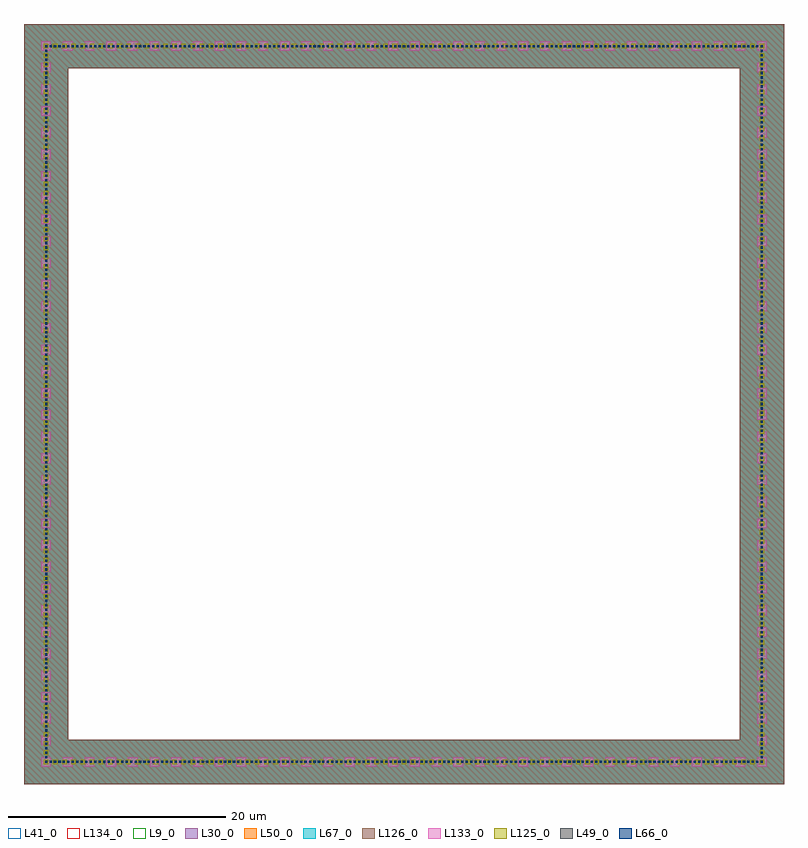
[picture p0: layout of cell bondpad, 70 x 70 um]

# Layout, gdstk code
import gdstk
lib = gdstk.Library(unit=1e-6, precision=1e-09)
def R(c, l, rs):  # rectangles x0, y0, x1, y1
    for r in rs: c.add(gdstk.rectangle(r[:2], r[2:], *l))
def A(c, l, x, y, w, h, nx, ny, dx, dy):  # array of equal rectangles
    R(c, l, [(x+i*dx, y+j*dy, x+i*dx+w, y+j*dy+h) for i in range(nx) for j in range(ny)])
def P(c, l, *ps):  # polygons
    for p in ps: c.add(gdstk.Polygon(p, *l))
L9_0 = (9, 0)
L30_0 = (30, 0)
L41_0 = (41, 0)
L49_0 = (49, 0)
L50_0 = (50, 0)
L66_0 = (66, 0)
L67_0 = (67, 0)
L125_0 = (125, 0)
L126_0 = (126, 0)
L133_0 = (133, 0)
L134_0 = (134, 0)

bondpad = lib.new_cell('bondpad')
R(bondpad, L9_0, [(-32.9,-32.9,32.9,32.9)])
P(bondpad, L30_0, [(-35,-35),(-35,35),(35,35),(35,-35),(-35,-35),(-30.93,-30.93),(30.93,-30.93),(30.93,30.93),(-30.93,30.93),(-30.93,-30.93)])
R(bondpad, L41_0, [(-35,-35,35,35)])
A(bondpad, L49_0, -33.06, -33.06, 0.19, 0.19, 3, 2, 0.41, 65.93)
A(bondpad, L49_0, -31, -33.06, 0.19, 0.19, 3, 2, 0.41, 65.93)
A(bondpad, L49_0, -28.94, -33.06, 0.19, 0.19, 3, 2, 0.41, 65.93)
A(bondpad, L49_0, -26.055, -33.06, 0.19, 0.19, 3, 2, 0.41, 65.93)
A(bondpad, L49_0, -23.995, -33.06, 0.19, 0.19, 3, 2, 0.41, 65.93)
A(bondpad, L49_0, -21.935, -33.06, 0.19, 0.19, 3, 2, 0.41, 65.93)
A(bondpad, L49_0, -19.05, -33.06, 0.19, 0.19, 3, 2, 0.41, 65.93)
A(bondpad, L49_0, -16.99, -33.06, 0.19, 0.19, 3, 2, 0.41, 65.93)
A(bondpad, L49_0, -14.93, -33.06, 0.19, 0.19, 3, 2, 0.41, 65.93)
A(bondpad, L49_0, -12.045, -33.06, 0.19, 0.19, 3, 2, 0.41, 65.93)
A(bondpad, L49_0, -9.985, -33.06, 0.19, 0.19, 3, 2, 0.41, 65.93)
A(bondpad, L49_0, -7.925, -33.06, 0.19, 0.19, 3, 2, 0.41, 65.93)
A(bondpad, L49_0, -5.04, -33.06, 0.19, 0.19, 3, 2, 0.41, 65.93)
A(bondpad, L49_0, -2.98, -33.06, 0.19, 0.19, 3, 2, 0.41, 65.93)
A(bondpad, L49_0, -0.095, -33.06, 0.19, 0.19, 3, 2, 0.41, 65.93)
A(bondpad, L49_0, 1.965, -33.06, 0.19, 0.19, 3, 2, 0.41, 65.93)
A(bondpad, L49_0, 4.025, -33.06, 0.19, 0.19, 3, 2, 0.41, 65.93)
A(bondpad, L49_0, 6.91, -33.06, 0.19, 0.19, 3, 2, 0.41, 65.93)
A(bondpad, L49_0, 8.97, -33.06, 0.19, 0.19, 3, 2, 0.41, 65.93)
A(bondpad, L49_0, 11.03, -33.06, 0.19, 0.19, 3, 2, 0.41, 65.93)
A(bondpad, L49_0, 13.915, -33.06, 0.19, 0.19, 3, 2, 0.41, 65.93)
A(bondpad, L49_0, 15.975, -33.06, 0.19, 0.19, 3, 2, 0.41, 65.93)
A(bondpad, L49_0, 18.035, -33.06, 0.19, 0.19, 3, 2, 0.41, 65.93)
A(bondpad, L49_0, 20.92, -33.06, 0.19, 0.19, 3, 2, 0.41, 65.93)
A(bondpad, L49_0, 22.98, -33.06, 0.19, 0.19, 3, 2, 0.41, 65.93)
A(bondpad, L49_0, 25.04, -33.06, 0.19, 0.19, 3, 2, 0.41, 65.93)
A(bondpad, L49_0, 27.925, -33.06, 0.19, 0.19, 3, 2, 0.41, 65.93)
A(bondpad, L49_0, 29.985, -33.06, 0.19, 0.19, 3, 2, 0.41, 65.93)
A(bondpad, L49_0, -33.06, -32.64, 0.19, 0.19, 1, 3, 0, 0.41)
A(bondpad, L49_0, 32.87, -32.64, 0.19, 0.19, 1, 3, 0, 0.41)
A(bondpad, L49_0, -33.06, -31.405, 0.19, 0.19, 1, 3, 0, 0.41)
A(bondpad, L49_0, 32.87, -31.405, 0.19, 0.19, 1, 3, 0, 0.41)
A(bondpad, L49_0, -33.06, -29.345, 0.19, 0.19, 1, 3, 0, 0.41)
A(bondpad, L49_0, 32.87, -29.345, 0.19, 0.19, 1, 3, 0, 0.41)
A(bondpad, L49_0, -33.06, -27.285, 0.19, 0.19, 1, 3, 0, 0.41)
A(bondpad, L49_0, 32.87, -27.285, 0.19, 0.19, 1, 3, 0, 0.41)
A(bondpad, L49_0, -33.06, -25.225, 0.19, 0.19, 1, 3, 0, 0.41)
A(bondpad, L49_0, 32.87, -25.225, 0.19, 0.19, 1, 3, 0, 0.41)
A(bondpad, L49_0, -33.06, -23.165, 0.19, 0.19, 1, 3, 0, 0.41)
A(bondpad, L49_0, 32.87, -23.165, 0.19, 0.19, 1, 3, 0, 0.41)
A(bondpad, L49_0, -33.06, -21.93, 0.19, 0.19, 1, 3, 0, 0.41)
A(bondpad, L49_0, 32.87, -21.93, 0.19, 0.19, 1, 3, 0, 0.41)
A(bondpad, L49_0, -33.06, -19.87, 0.19, 0.19, 1, 3, 0, 0.41)
A(bondpad, L49_0, 32.87, -19.87, 0.19, 0.19, 1, 3, 0, 0.41)
A(bondpad, L49_0, -33.06, -17.81, 0.19, 0.19, 1, 3, 0, 0.41)
A(bondpad, L49_0, 32.87, -17.81, 0.19, 0.19, 1, 3, 0, 0.41)
A(bondpad, L49_0, -33.06, -15.75, 0.19, 0.19, 1, 3, 0, 0.41)
A(bondpad, L49_0, 32.87, -15.75, 0.19, 0.19, 1, 3, 0, 0.41)
A(bondpad, L49_0, -33.06, -13.69, 0.19, 0.19, 1, 3, 0, 0.41)
A(bondpad, L49_0, 32.87, -13.69, 0.19, 0.19, 1, 3, 0, 0.41)
A(bondpad, L49_0, -33.06, -11.63, 0.19, 0.19, 1, 3, 0, 0.41)
A(bondpad, L49_0, 32.87, -11.63, 0.19, 0.19, 1, 3, 0, 0.41)
A(bondpad, L49_0, -33.06, -10.395, 0.19, 0.19, 1, 3, 0, 0.41)
A(bondpad, L49_0, 32.87, -10.395, 0.19, 0.19, 1, 3, 0, 0.41)
A(bondpad, L49_0, -33.06, -8.335, 0.19, 0.19, 1, 3, 0, 0.41)
A(bondpad, L49_0, 32.87, -8.335, 0.19, 0.19, 1, 3, 0, 0.41)
A(bondpad, L49_0, -33.06, -6.275, 0.19, 0.19, 1, 3, 0, 0.41)
A(bondpad, L49_0, 32.87, -6.275, 0.19, 0.19, 1, 3, 0, 0.41)
A(bondpad, L49_0, -33.06, -4.215, 0.19, 0.19, 1, 3, 0, 0.41)
A(bondpad, L49_0, 32.87, -4.215, 0.19, 0.19, 1, 3, 0, 0.41)
A(bondpad, L49_0, -33.06, -2.155, 0.19, 0.19, 1, 3, 0, 0.41)
A(bondpad, L49_0, 32.87, -2.155, 0.19, 0.19, 1, 3, 0, 0.41)
A(bondpad, L49_0, -33.06, -0.095, 0.19, 0.19, 1, 3, 0, 0.41)
A(bondpad, L49_0, 32.87, -0.095, 0.19, 0.19, 1, 3, 0, 0.41)
A(bondpad, L49_0, -33.06, 1.14, 0.19, 0.19, 1, 3, 0, 0.41)
A(bondpad, L49_0, 32.87, 1.14, 0.19, 0.19, 1, 3, 0, 0.41)
A(bondpad, L49_0, -33.06, 3.2, 0.19, 0.19, 1, 3, 0, 0.41)
A(bondpad, L49_0, 32.87, 3.2, 0.19, 0.19, 1, 3, 0, 0.41)
A(bondpad, L49_0, -33.06, 5.26, 0.19, 0.19, 1, 3, 0, 0.41)
A(bondpad, L49_0, 32.87, 5.26, 0.19, 0.19, 1, 3, 0, 0.41)
A(bondpad, L49_0, -33.06, 7.32, 0.19, 0.19, 1, 3, 0, 0.41)
A(bondpad, L49_0, 32.87, 7.32, 0.19, 0.19, 1, 3, 0, 0.41)
A(bondpad, L49_0, -33.06, 9.38, 0.19, 0.19, 1, 3, 0, 0.41)
A(bondpad, L49_0, 32.87, 9.38, 0.19, 0.19, 1, 3, 0, 0.41)
A(bondpad, L49_0, -33.06, 10.615, 0.19, 0.19, 1, 3, 0, 0.41)
A(bondpad, L49_0, 32.87, 10.615, 0.19, 0.19, 1, 3, 0, 0.41)
A(bondpad, L49_0, -33.06, 12.675, 0.19, 0.19, 1, 3, 0, 0.41)
A(bondpad, L49_0, 32.87, 12.675, 0.19, 0.19, 1, 3, 0, 0.41)
A(bondpad, L49_0, -33.06, 14.735, 0.19, 0.19, 1, 3, 0, 0.41)
A(bondpad, L49_0, 32.87, 14.735, 0.19, 0.19, 1, 3, 0, 0.41)
A(bondpad, L49_0, -33.06, 16.795, 0.19, 0.19, 1, 3, 0, 0.41)
A(bondpad, L49_0, 32.87, 16.795, 0.19, 0.19, 1, 3, 0, 0.41)
A(bondpad, L49_0, -33.06, 18.855, 0.19, 0.19, 1, 3, 0, 0.41)
A(bondpad, L49_0, 32.87, 18.855, 0.19, 0.19, 1, 3, 0, 0.41)
A(bondpad, L49_0, -33.06, 20.915, 0.19, 0.19, 1, 3, 0, 0.41)
A(bondpad, L49_0, 32.87, 20.915, 0.19, 0.19, 1, 3, 0, 0.41)
A(bondpad, L49_0, -33.06, 22.15, 0.19, 0.19, 1, 3, 0, 0.41)
A(bondpad, L49_0, 32.87, 22.15, 0.19, 0.19, 1, 3, 0, 0.41)
A(bondpad, L49_0, -33.06, 24.21, 0.19, 0.19, 1, 3, 0, 0.41)
A(bondpad, L49_0, 32.87, 24.21, 0.19, 0.19, 1, 3, 0, 0.41)
A(bondpad, L49_0, -33.06, 26.27, 0.19, 0.19, 1, 3, 0, 0.41)
A(bondpad, L49_0, 32.87, 26.27, 0.19, 0.19, 1, 3, 0, 0.41)
A(bondpad, L49_0, -33.06, 28.33, 0.19, 0.19, 1, 3, 0, 0.41)
A(bondpad, L49_0, 32.87, 28.33, 0.19, 0.19, 1, 3, 0, 0.41)
A(bondpad, L49_0, -33.06, 30.39, 0.19, 0.19, 1, 3, 0, 0.41)
A(bondpad, L49_0, 32.87, 30.39, 0.19, 0.19, 1, 3, 0, 0.41)
R(bondpad, L49_0, [(-31.825,-33.06,-31.635,-32.87), (-31.415,-33.06,-31.225,-32.87), (-29.765,-33.06,-29.575,-32.87), (-29.355,-33.06,-29.165,-32.87), (-27.705,-33.06,-27.515,-32.87), (-27.295,-33.06,-27.105,-32.87), (-26.88,-33.06,-26.69,-32.87), (-26.47,-33.06,-26.28,-32.87), (-24.82,-33.06,-24.63,-32.87), (-24.41,-33.06,-24.22,-32.87), (-22.76,-33.06,-22.57,-32.87), (-22.35,-33.06,-22.16,-32.87), (-20.7,-33.06,-20.51,-32.87), (-20.29,-33.06,-20.1,-32.87), (-19.875,-33.06,-19.685,-32.87), (-19.465,-33.06,-19.275,-32.87), (-17.815,-33.06,-17.625,-32.87), (-17.405,-33.06,-17.215,-32.87), (-15.755,-33.06,-15.565,-32.87), (-15.345,-33.06,-15.155,-32.87), (-13.695,-33.06,-13.505,-32.87), (-13.285,-33.06,-13.095,-32.87), (-12.87,-33.06,-12.68,-32.87), (-12.46,-33.06,-12.27,-32.87), (-10.81,-33.06,-10.62,-32.87), (-10.4,-33.06,-10.21,-32.87), (-8.75,-33.06,-8.56,-32.87), (-8.34,-33.06,-8.15,-32.87), (-6.69,-33.06,-6.5,-32.87), (-6.28,-33.06,-6.09,-32.87), (-5.865,-33.06,-5.675,-32.87), (-5.455,-33.06,-5.265,-32.87), (-3.805,-33.06,-3.615,-32.87), (-3.395,-33.06,-3.205,-32.87), (-1.745,-33.06,-1.555,-32.87), (-1.335,-33.06,-1.145,-32.87), (-0.92,-33.06,-0.73,-32.87), (-0.51,-33.06,-0.32,-32.87), (1.14,-33.06,1.33,-32.87), (1.55,-33.06,1.74,-32.87), (3.2,-33.06,3.39,-32.87), (3.61,-33.06,3.8,-32.87), (5.26,-33.06,5.45,-32.87), (5.67,-33.06,5.86,-32.87), (6.085,-33.06,6.275,-32.87), (6.495,-33.06,6.685,-32.87), (8.145,-33.06,8.335,-32.87), (8.555,-33.06,8.745,-32.87), (10.205,-33.06,10.395,-32.87), (10.615,-33.06,10.805,-32.87), (12.265,-33.06,12.455,-32.87), (12.675,-33.06,12.865,-32.87), (13.09,-33.06,13.28,-32.87), (13.5,-33.06,13.69,-32.87), (15.15,-33.06,15.34,-32.87), (15.56,-33.06,15.75,-32.87), (17.21,-33.06,17.4,-32.87), (17.62,-33.06,17.81,-32.87), (19.27,-33.06,19.46,-32.87), (19.68,-33.06,19.87,-32.87), (20.095,-33.06,20.285,-32.87), (20.505,-33.06,20.695,-32.87), (22.155,-33.06,22.345,-32.87), (22.565,-33.06,22.755,-32.87), (24.215,-33.06,24.405,-32.87), (24.625,-33.06,24.815,-32.87), (26.275,-33.06,26.465,-32.87), (26.685,-33.06,26.875,-32.87), (27.1,-33.06,27.29,-32.87), (27.51,-33.06,27.7,-32.87), (29.16,-33.06,29.35,-32.87), (29.57,-33.06,29.76,-32.87), (31.22,-33.06,31.41,-32.87), (31.63,-33.06,31.82,-32.87), (32.045,-33.06,32.235,-32.87), (32.455,-33.06,32.645,-32.87), (32.87,-33.06,33.06,-32.87), (-33.06,-30.17,-32.87,-29.98), (32.87,-30.17,33.06,-29.98), (-33.06,-29.76,-32.87,-29.57), (32.87,-29.76,33.06,-29.57), (-33.06,-28.11,-32.87,-27.92), (32.87,-28.11,33.06,-27.92), (-33.06,-27.7,-32.87,-27.51), (32.87,-27.7,33.06,-27.51), (-33.06,-26.05,-32.87,-25.86), (32.87,-26.05,33.06,-25.86), (-33.06,-25.64,-32.87,-25.45), (32.87,-25.64,33.06,-25.45), (-33.06,-23.99,-32.87,-23.8), (32.87,-23.99,33.06,-23.8), (-33.06,-23.58,-32.87,-23.39), (32.87,-23.58,33.06,-23.39), (-33.06,-20.695,-32.87,-20.505), (32.87,-20.695,33.06,-20.505), (-33.06,-20.285,-32.87,-20.095), (32.87,-20.285,33.06,-20.095), (-33.06,-18.635,-32.87,-18.445), (32.87,-18.635,33.06,-18.445), (-33.06,-18.225,-32.87,-18.035), (32.87,-18.225,33.06,-18.035), (-33.06,-16.575,-32.87,-16.385), (32.87,-16.575,33.06,-16.385), (-33.06,-16.165,-32.87,-15.975), (32.87,-16.165,33.06,-15.975), (-33.06,-14.515,-32.87,-14.325), (32.87,-14.515,33.06,-14.325), (-33.06,-14.105,-32.87,-13.915), (32.87,-14.105,33.06,-13.915), (-33.06,-12.455,-32.87,-12.265), (32.87,-12.455,33.06,-12.265), (-33.06,-12.045,-32.87,-11.855), (32.87,-12.045,33.06,-11.855), (-33.06,-9.16,-32.87,-8.97), (32.87,-9.16,33.06,-8.97), (-33.06,-8.75,-32.87,-8.56), (32.87,-8.75,33.06,-8.56), (-33.06,-7.1,-32.87,-6.91), (32.87,-7.1,33.06,-6.91), (-33.06,-6.69,-32.87,-6.5), (32.87,-6.69,33.06,-6.5), (-33.06,-5.04,-32.87,-4.85), (32.87,-5.04,33.06,-4.85), (-33.06,-4.63,-32.87,-4.44), (32.87,-4.63,33.06,-4.44), (-33.06,-2.98,-32.87,-2.79), (32.87,-2.98,33.06,-2.79), (-33.06,-2.57,-32.87,-2.38), (32.87,-2.57,33.06,-2.38), (-33.06,-0.92,-32.87,-0.73), (32.87,-0.92,33.06,-0.73), (-33.06,-0.51,-32.87,-0.32), (32.87,-0.51,33.06,-0.32), (-33.06,2.375,-32.87,2.565), (32.87,2.375,33.06,2.565), (-33.06,2.785,-32.87,2.975), (32.87,2.785,33.06,2.975), (-33.06,4.435,-32.87,4.625), (32.87,4.435,33.06,4.625), (-33.06,4.845,-32.87,5.035), (32.87,4.845,33.06,5.035), (-33.06,6.495,-32.87,6.685), (32.87,6.495,33.06,6.685), (-33.06,6.905,-32.87,7.095), (32.87,6.905,33.06,7.095), (-33.06,8.555,-32.87,8.745), (32.87,8.555,33.06,8.745), (-33.06,8.965,-32.87,9.155), (32.87,8.965,33.06,9.155), (-33.06,11.85,-32.87,12.04), (32.87,11.85,33.06,12.04), (-33.06,12.26,-32.87,12.45), (32.87,12.26,33.06,12.45), (-33.06,13.91,-32.87,14.1), (32.87,13.91,33.06,14.1), (-33.06,14.32,-32.87,14.51), (32.87,14.32,33.06,14.51), (-33.06,15.97,-32.87,16.16), (32.87,15.97,33.06,16.16), (-33.06,16.38,-32.87,16.57), (32.87,16.38,33.06,16.57), (-33.06,18.03,-32.87,18.22), (32.87,18.03,33.06,18.22), (-33.06,18.44,-32.87,18.63), (32.87,18.44,33.06,18.63), (-33.06,20.09,-32.87,20.28), (32.87,20.09,33.06,20.28), (-33.06,20.5,-32.87,20.69), (32.87,20.5,33.06,20.69), (-33.06,23.385,-32.87,23.575), (32.87,23.385,33.06,23.575), (-33.06,23.795,-32.87,23.985), (32.87,23.795,33.06,23.985), (-33.06,25.445,-32.87,25.635), (32.87,25.445,33.06,25.635), (-33.06,25.855,-32.87,26.045), (32.87,25.855,33.06,26.045), (-33.06,27.505,-32.87,27.695), (32.87,27.505,33.06,27.695), (-33.06,27.915,-32.87,28.105), (32.87,27.915,33.06,28.105), (-33.06,29.565,-32.87,29.755), (32.87,29.565,33.06,29.755), (-33.06,29.975,-32.87,30.165), (32.87,29.975,33.06,30.165), (-33.06,31.625,-32.87,31.815), (32.87,31.625,33.06,31.815), (-33.06,32.035,-32.87,32.225), (32.87,32.035,33.06,32.225), (-33.06,32.45,-32.87,32.64), (32.87,32.45,33.06,32.64), (-31.825,32.87,-31.635,33.06), (-31.415,32.87,-31.225,33.06), (-29.765,32.87,-29.575,33.06), (-29.355,32.87,-29.165,33.06), (-27.705,32.87,-27.515,33.06), (-27.295,32.87,-27.105,33.06), (-26.88,32.87,-26.69,33.06), (-26.47,32.87,-26.28,33.06), (-24.82,32.87,-24.63,33.06), (-24.41,32.87,-24.22,33.06), (-22.76,32.87,-22.57,33.06), (-22.35,32.87,-22.16,33.06), (-20.7,32.87,-20.51,33.06), (-20.29,32.87,-20.1,33.06), (-19.875,32.87,-19.685,33.06), (-19.465,32.87,-19.275,33.06), (-17.815,32.87,-17.625,33.06), (-17.405,32.87,-17.215,33.06), (-15.755,32.87,-15.565,33.06), (-15.345,32.87,-15.155,33.06), (-13.695,32.87,-13.505,33.06), (-13.285,32.87,-13.095,33.06), (-12.87,32.87,-12.68,33.06), (-12.46,32.87,-12.27,33.06), (-10.81,32.87,-10.62,33.06), (-10.4,32.87,-10.21,33.06), (-8.75,32.87,-8.56,33.06), (-8.34,32.87,-8.15,33.06), (-6.69,32.87,-6.5,33.06), (-6.28,32.87,-6.09,33.06), (-5.865,32.87,-5.675,33.06), (-5.455,32.87,-5.265,33.06), (-3.805,32.87,-3.615,33.06), (-3.395,32.87,-3.205,33.06), (-1.745,32.87,-1.555,33.06), (-1.335,32.87,-1.145,33.06), (-0.92,32.87,-0.73,33.06), (-0.51,32.87,-0.32,33.06), (1.14,32.87,1.33,33.06), (1.55,32.87,1.74,33.06), (3.2,32.87,3.39,33.06), (3.61,32.87,3.8,33.06), (5.26,32.87,5.45,33.06), (5.67,32.87,5.86,33.06), (6.085,32.87,6.275,33.06), (6.495,32.87,6.685,33.06), (8.145,32.87,8.335,33.06), (8.555,32.87,8.745,33.06), (10.205,32.87,10.395,33.06), (10.615,32.87,10.805,33.06), (12.265,32.87,12.455,33.06), (12.675,32.87,12.865,33.06), (13.09,32.87,13.28,33.06), (13.5,32.87,13.69,33.06), (15.15,32.87,15.34,33.06), (15.56,32.87,15.75,33.06), (17.21,32.87,17.4,33.06), (17.62,32.87,17.81,33.06), (19.27,32.87,19.46,33.06), (19.68,32.87,19.87,33.06), (20.095,32.87,20.285,33.06), (20.505,32.87,20.695,33.06), (22.155,32.87,22.345,33.06), (22.565,32.87,22.755,33.06), (24.215,32.87,24.405,33.06), (24.625,32.87,24.815,33.06), (26.275,32.87,26.465,33.06), (26.685,32.87,26.875,33.06), (27.1,32.87,27.29,33.06), (27.51,32.87,27.7,33.06), (29.16,32.87,29.35,33.06), (29.57,32.87,29.76,33.06), (31.22,32.87,31.41,33.06), (31.63,32.87,31.82,33.06), (32.045,32.87,32.235,33.06), (32.455,32.87,32.645,33.06), (32.87,32.87,33.06,33.06)])
P(bondpad, L50_0, [(-35,-35),(-35,35),(35,35),(35,-35),(-35,-35),(-30.93,-30.93),(30.93,-30.93),(30.93,30.93),(-30.93,30.93),(-30.93,-30.93)])
A(bondpad, L66_0, -33.06, -33.06, 0.19, 0.19, 3, 2, 0.41, 65.93)
A(bondpad, L66_0, -31, -33.06, 0.19, 0.19, 3, 2, 0.41, 65.93)
A(bondpad, L66_0, -28.94, -33.06, 0.19, 0.19, 3, 2, 0.41, 65.93)
A(bondpad, L66_0, -26.055, -33.06, 0.19, 0.19, 3, 2, 0.41, 65.93)
A(bondpad, L66_0, -23.995, -33.06, 0.19, 0.19, 3, 2, 0.41, 65.93)
A(bondpad, L66_0, -21.935, -33.06, 0.19, 0.19, 3, 2, 0.41, 65.93)
A(bondpad, L66_0, -19.05, -33.06, 0.19, 0.19, 3, 2, 0.41, 65.93)
A(bondpad, L66_0, -16.99, -33.06, 0.19, 0.19, 3, 2, 0.41, 65.93)
A(bondpad, L66_0, -14.93, -33.06, 0.19, 0.19, 3, 2, 0.41, 65.93)
A(bondpad, L66_0, -12.045, -33.06, 0.19, 0.19, 3, 2, 0.41, 65.93)
A(bondpad, L66_0, -9.985, -33.06, 0.19, 0.19, 3, 2, 0.41, 65.93)
A(bondpad, L66_0, -7.925, -33.06, 0.19, 0.19, 3, 2, 0.41, 65.93)
A(bondpad, L66_0, -5.04, -33.06, 0.19, 0.19, 3, 2, 0.41, 65.93)
A(bondpad, L66_0, -2.98, -33.06, 0.19, 0.19, 3, 2, 0.41, 65.93)
A(bondpad, L66_0, -0.095, -33.06, 0.19, 0.19, 3, 2, 0.41, 65.93)
A(bondpad, L66_0, 1.965, -33.06, 0.19, 0.19, 3, 2, 0.41, 65.93)
A(bondpad, L66_0, 4.025, -33.06, 0.19, 0.19, 3, 2, 0.41, 65.93)
A(bondpad, L66_0, 6.91, -33.06, 0.19, 0.19, 3, 2, 0.41, 65.93)
A(bondpad, L66_0, 8.97, -33.06, 0.19, 0.19, 3, 2, 0.41, 65.93)
A(bondpad, L66_0, 11.03, -33.06, 0.19, 0.19, 3, 2, 0.41, 65.93)
A(bondpad, L66_0, 13.915, -33.06, 0.19, 0.19, 3, 2, 0.41, 65.93)
A(bondpad, L66_0, 15.975, -33.06, 0.19, 0.19, 3, 2, 0.41, 65.93)
A(bondpad, L66_0, 18.035, -33.06, 0.19, 0.19, 3, 2, 0.41, 65.93)
A(bondpad, L66_0, 20.92, -33.06, 0.19, 0.19, 3, 2, 0.41, 65.93)
A(bondpad, L66_0, 22.98, -33.06, 0.19, 0.19, 3, 2, 0.41, 65.93)
A(bondpad, L66_0, 25.04, -33.06, 0.19, 0.19, 3, 2, 0.41, 65.93)
A(bondpad, L66_0, 27.925, -33.06, 0.19, 0.19, 3, 2, 0.41, 65.93)
A(bondpad, L66_0, 29.985, -33.06, 0.19, 0.19, 3, 2, 0.41, 65.93)
A(bondpad, L66_0, -33.06, -32.64, 0.19, 0.19, 1, 3, 0, 0.41)
A(bondpad, L66_0, 32.87, -32.64, 0.19, 0.19, 1, 3, 0, 0.41)
A(bondpad, L66_0, -33.06, -31.405, 0.19, 0.19, 1, 3, 0, 0.41)
A(bondpad, L66_0, 32.87, -31.405, 0.19, 0.19, 1, 3, 0, 0.41)
A(bondpad, L66_0, -33.06, -29.345, 0.19, 0.19, 1, 3, 0, 0.41)
A(bondpad, L66_0, 32.87, -29.345, 0.19, 0.19, 1, 3, 0, 0.41)
A(bondpad, L66_0, -33.06, -27.285, 0.19, 0.19, 1, 3, 0, 0.41)
A(bondpad, L66_0, 32.87, -27.285, 0.19, 0.19, 1, 3, 0, 0.41)
A(bondpad, L66_0, -33.06, -25.225, 0.19, 0.19, 1, 3, 0, 0.41)
A(bondpad, L66_0, 32.87, -25.225, 0.19, 0.19, 1, 3, 0, 0.41)
A(bondpad, L66_0, -33.06, -23.165, 0.19, 0.19, 1, 3, 0, 0.41)
A(bondpad, L66_0, 32.87, -23.165, 0.19, 0.19, 1, 3, 0, 0.41)
A(bondpad, L66_0, -33.06, -21.93, 0.19, 0.19, 1, 3, 0, 0.41)
A(bondpad, L66_0, 32.87, -21.93, 0.19, 0.19, 1, 3, 0, 0.41)
A(bondpad, L66_0, -33.06, -19.87, 0.19, 0.19, 1, 3, 0, 0.41)
A(bondpad, L66_0, 32.87, -19.87, 0.19, 0.19, 1, 3, 0, 0.41)
A(bondpad, L66_0, -33.06, -17.81, 0.19, 0.19, 1, 3, 0, 0.41)
A(bondpad, L66_0, 32.87, -17.81, 0.19, 0.19, 1, 3, 0, 0.41)
A(bondpad, L66_0, -33.06, -15.75, 0.19, 0.19, 1, 3, 0, 0.41)
A(bondpad, L66_0, 32.87, -15.75, 0.19, 0.19, 1, 3, 0, 0.41)
A(bondpad, L66_0, -33.06, -13.69, 0.19, 0.19, 1, 3, 0, 0.41)
A(bondpad, L66_0, 32.87, -13.69, 0.19, 0.19, 1, 3, 0, 0.41)
A(bondpad, L66_0, -33.06, -11.63, 0.19, 0.19, 1, 3, 0, 0.41)
A(bondpad, L66_0, 32.87, -11.63, 0.19, 0.19, 1, 3, 0, 0.41)
A(bondpad, L66_0, -33.06, -10.395, 0.19, 0.19, 1, 3, 0, 0.41)
A(bondpad, L66_0, 32.87, -10.395, 0.19, 0.19, 1, 3, 0, 0.41)
A(bondpad, L66_0, -33.06, -8.335, 0.19, 0.19, 1, 3, 0, 0.41)
A(bondpad, L66_0, 32.87, -8.335, 0.19, 0.19, 1, 3, 0, 0.41)
A(bondpad, L66_0, -33.06, -6.275, 0.19, 0.19, 1, 3, 0, 0.41)
A(bondpad, L66_0, 32.87, -6.275, 0.19, 0.19, 1, 3, 0, 0.41)
A(bondpad, L66_0, -33.06, -4.215, 0.19, 0.19, 1, 3, 0, 0.41)
A(bondpad, L66_0, 32.87, -4.215, 0.19, 0.19, 1, 3, 0, 0.41)
A(bondpad, L66_0, -33.06, -2.155, 0.19, 0.19, 1, 3, 0, 0.41)
A(bondpad, L66_0, 32.87, -2.155, 0.19, 0.19, 1, 3, 0, 0.41)
A(bondpad, L66_0, -33.06, -0.095, 0.19, 0.19, 1, 3, 0, 0.41)
A(bondpad, L66_0, 32.87, -0.095, 0.19, 0.19, 1, 3, 0, 0.41)
A(bondpad, L66_0, -33.06, 1.14, 0.19, 0.19, 1, 3, 0, 0.41)
A(bondpad, L66_0, 32.87, 1.14, 0.19, 0.19, 1, 3, 0, 0.41)
A(bondpad, L66_0, -33.06, 3.2, 0.19, 0.19, 1, 3, 0, 0.41)
A(bondpad, L66_0, 32.87, 3.2, 0.19, 0.19, 1, 3, 0, 0.41)
A(bondpad, L66_0, -33.06, 5.26, 0.19, 0.19, 1, 3, 0, 0.41)
A(bondpad, L66_0, 32.87, 5.26, 0.19, 0.19, 1, 3, 0, 0.41)
A(bondpad, L66_0, -33.06, 7.32, 0.19, 0.19, 1, 3, 0, 0.41)
A(bondpad, L66_0, 32.87, 7.32, 0.19, 0.19, 1, 3, 0, 0.41)
A(bondpad, L66_0, -33.06, 9.38, 0.19, 0.19, 1, 3, 0, 0.41)
A(bondpad, L66_0, 32.87, 9.38, 0.19, 0.19, 1, 3, 0, 0.41)
A(bondpad, L66_0, -33.06, 10.615, 0.19, 0.19, 1, 3, 0, 0.41)
A(bondpad, L66_0, 32.87, 10.615, 0.19, 0.19, 1, 3, 0, 0.41)
A(bondpad, L66_0, -33.06, 12.675, 0.19, 0.19, 1, 3, 0, 0.41)
A(bondpad, L66_0, 32.87, 12.675, 0.19, 0.19, 1, 3, 0, 0.41)
A(bondpad, L66_0, -33.06, 14.735, 0.19, 0.19, 1, 3, 0, 0.41)
A(bondpad, L66_0, 32.87, 14.735, 0.19, 0.19, 1, 3, 0, 0.41)
A(bondpad, L66_0, -33.06, 16.795, 0.19, 0.19, 1, 3, 0, 0.41)
A(bondpad, L66_0, 32.87, 16.795, 0.19, 0.19, 1, 3, 0, 0.41)
A(bondpad, L66_0, -33.06, 18.855, 0.19, 0.19, 1, 3, 0, 0.41)
A(bondpad, L66_0, 32.87, 18.855, 0.19, 0.19, 1, 3, 0, 0.41)
A(bondpad, L66_0, -33.06, 20.915, 0.19, 0.19, 1, 3, 0, 0.41)
A(bondpad, L66_0, 32.87, 20.915, 0.19, 0.19, 1, 3, 0, 0.41)
A(bondpad, L66_0, -33.06, 22.15, 0.19, 0.19, 1, 3, 0, 0.41)
A(bondpad, L66_0, 32.87, 22.15, 0.19, 0.19, 1, 3, 0, 0.41)
A(bondpad, L66_0, -33.06, 24.21, 0.19, 0.19, 1, 3, 0, 0.41)
A(bondpad, L66_0, 32.87, 24.21, 0.19, 0.19, 1, 3, 0, 0.41)
A(bondpad, L66_0, -33.06, 26.27, 0.19, 0.19, 1, 3, 0, 0.41)
A(bondpad, L66_0, 32.87, 26.27, 0.19, 0.19, 1, 3, 0, 0.41)
A(bondpad, L66_0, -33.06, 28.33, 0.19, 0.19, 1, 3, 0, 0.41)
A(bondpad, L66_0, 32.87, 28.33, 0.19, 0.19, 1, 3, 0, 0.41)
A(bondpad, L66_0, -33.06, 30.39, 0.19, 0.19, 1, 3, 0, 0.41)
A(bondpad, L66_0, 32.87, 30.39, 0.19, 0.19, 1, 3, 0, 0.41)
R(bondpad, L66_0, [(-31.825,-33.06,-31.635,-32.87), (-31.415,-33.06,-31.225,-32.87), (-29.765,-33.06,-29.575,-32.87), (-29.355,-33.06,-29.165,-32.87), (-27.705,-33.06,-27.515,-32.87), (-27.295,-33.06,-27.105,-32.87), (-26.88,-33.06,-26.69,-32.87), (-26.47,-33.06,-26.28,-32.87), (-24.82,-33.06,-24.63,-32.87), (-24.41,-33.06,-24.22,-32.87), (-22.76,-33.06,-22.57,-32.87), (-22.35,-33.06,-22.16,-32.87), (-20.7,-33.06,-20.51,-32.87), (-20.29,-33.06,-20.1,-32.87), (-19.875,-33.06,-19.685,-32.87), (-19.465,-33.06,-19.275,-32.87), (-17.815,-33.06,-17.625,-32.87), (-17.405,-33.06,-17.215,-32.87), (-15.755,-33.06,-15.565,-32.87), (-15.345,-33.06,-15.155,-32.87), (-13.695,-33.06,-13.505,-32.87), (-13.285,-33.06,-13.095,-32.87), (-12.87,-33.06,-12.68,-32.87), (-12.46,-33.06,-12.27,-32.87), (-10.81,-33.06,-10.62,-32.87), (-10.4,-33.06,-10.21,-32.87), (-8.75,-33.06,-8.56,-32.87), (-8.34,-33.06,-8.15,-32.87), (-6.69,-33.06,-6.5,-32.87), (-6.28,-33.06,-6.09,-32.87), (-5.865,-33.06,-5.675,-32.87), (-5.455,-33.06,-5.265,-32.87), (-3.805,-33.06,-3.615,-32.87), (-3.395,-33.06,-3.205,-32.87), (-1.745,-33.06,-1.555,-32.87), (-1.335,-33.06,-1.145,-32.87), (-0.92,-33.06,-0.73,-32.87), (-0.51,-33.06,-0.32,-32.87), (1.14,-33.06,1.33,-32.87), (1.55,-33.06,1.74,-32.87), (3.2,-33.06,3.39,-32.87), (3.61,-33.06,3.8,-32.87), (5.26,-33.06,5.45,-32.87), (5.67,-33.06,5.86,-32.87), (6.085,-33.06,6.275,-32.87), (6.495,-33.06,6.685,-32.87), (8.145,-33.06,8.335,-32.87), (8.555,-33.06,8.745,-32.87), (10.205,-33.06,10.395,-32.87), (10.615,-33.06,10.805,-32.87), (12.265,-33.06,12.455,-32.87), (12.675,-33.06,12.865,-32.87), (13.09,-33.06,13.28,-32.87), (13.5,-33.06,13.69,-32.87), (15.15,-33.06,15.34,-32.87), (15.56,-33.06,15.75,-32.87), (17.21,-33.06,17.4,-32.87), (17.62,-33.06,17.81,-32.87), (19.27,-33.06,19.46,-32.87), (19.68,-33.06,19.87,-32.87), (20.095,-33.06,20.285,-32.87), (20.505,-33.06,20.695,-32.87), (22.155,-33.06,22.345,-32.87), (22.565,-33.06,22.755,-32.87), (24.215,-33.06,24.405,-32.87), (24.625,-33.06,24.815,-32.87), (26.275,-33.06,26.465,-32.87), (26.685,-33.06,26.875,-32.87), (27.1,-33.06,27.29,-32.87), (27.51,-33.06,27.7,-32.87), (29.16,-33.06,29.35,-32.87), (29.57,-33.06,29.76,-32.87), (31.22,-33.06,31.41,-32.87), (31.63,-33.06,31.82,-32.87), (32.045,-33.06,32.235,-32.87), (32.455,-33.06,32.645,-32.87), (32.87,-33.06,33.06,-32.87), (-33.06,-30.17,-32.87,-29.98), (32.87,-30.17,33.06,-29.98), (-33.06,-29.76,-32.87,-29.57), (32.87,-29.76,33.06,-29.57), (-33.06,-28.11,-32.87,-27.92), (32.87,-28.11,33.06,-27.92), (-33.06,-27.7,-32.87,-27.51), (32.87,-27.7,33.06,-27.51), (-33.06,-26.05,-32.87,-25.86), (32.87,-26.05,33.06,-25.86), (-33.06,-25.64,-32.87,-25.45), (32.87,-25.64,33.06,-25.45), (-33.06,-23.99,-32.87,-23.8), (32.87,-23.99,33.06,-23.8), (-33.06,-23.58,-32.87,-23.39), (32.87,-23.58,33.06,-23.39), (-33.06,-20.695,-32.87,-20.505), (32.87,-20.695,33.06,-20.505), (-33.06,-20.285,-32.87,-20.095), (32.87,-20.285,33.06,-20.095), (-33.06,-18.635,-32.87,-18.445), (32.87,-18.635,33.06,-18.445), (-33.06,-18.225,-32.87,-18.035), (32.87,-18.225,33.06,-18.035), (-33.06,-16.575,-32.87,-16.385), (32.87,-16.575,33.06,-16.385), (-33.06,-16.165,-32.87,-15.975), (32.87,-16.165,33.06,-15.975), (-33.06,-14.515,-32.87,-14.325), (32.87,-14.515,33.06,-14.325), (-33.06,-14.105,-32.87,-13.915), (32.87,-14.105,33.06,-13.915), (-33.06,-12.455,-32.87,-12.265), (32.87,-12.455,33.06,-12.265), (-33.06,-12.045,-32.87,-11.855), (32.87,-12.045,33.06,-11.855), (-33.06,-9.16,-32.87,-8.97), (32.87,-9.16,33.06,-8.97), (-33.06,-8.75,-32.87,-8.56), (32.87,-8.75,33.06,-8.56), (-33.06,-7.1,-32.87,-6.91), (32.87,-7.1,33.06,-6.91), (-33.06,-6.69,-32.87,-6.5), (32.87,-6.69,33.06,-6.5), (-33.06,-5.04,-32.87,-4.85), (32.87,-5.04,33.06,-4.85), (-33.06,-4.63,-32.87,-4.44), (32.87,-4.63,33.06,-4.44), (-33.06,-2.98,-32.87,-2.79), (32.87,-2.98,33.06,-2.79), (-33.06,-2.57,-32.87,-2.38), (32.87,-2.57,33.06,-2.38), (-33.06,-0.92,-32.87,-0.73), (32.87,-0.92,33.06,-0.73), (-33.06,-0.51,-32.87,-0.32), (32.87,-0.51,33.06,-0.32), (-33.06,2.375,-32.87,2.565), (32.87,2.375,33.06,2.565), (-33.06,2.785,-32.87,2.975), (32.87,2.785,33.06,2.975), (-33.06,4.435,-32.87,4.625), (32.87,4.435,33.06,4.625), (-33.06,4.845,-32.87,5.035), (32.87,4.845,33.06,5.035), (-33.06,6.495,-32.87,6.685), (32.87,6.495,33.06,6.685), (-33.06,6.905,-32.87,7.095), (32.87,6.905,33.06,7.095), (-33.06,8.555,-32.87,8.745), (32.87,8.555,33.06,8.745), (-33.06,8.965,-32.87,9.155), (32.87,8.965,33.06,9.155), (-33.06,11.85,-32.87,12.04), (32.87,11.85,33.06,12.04), (-33.06,12.26,-32.87,12.45), (32.87,12.26,33.06,12.45), (-33.06,13.91,-32.87,14.1), (32.87,13.91,33.06,14.1), (-33.06,14.32,-32.87,14.51), (32.87,14.32,33.06,14.51), (-33.06,15.97,-32.87,16.16), (32.87,15.97,33.06,16.16), (-33.06,16.38,-32.87,16.57), (32.87,16.38,33.06,16.57), (-33.06,18.03,-32.87,18.22), (32.87,18.03,33.06,18.22), (-33.06,18.44,-32.87,18.63), (32.87,18.44,33.06,18.63), (-33.06,20.09,-32.87,20.28), (32.87,20.09,33.06,20.28), (-33.06,20.5,-32.87,20.69), (32.87,20.5,33.06,20.69), (-33.06,23.385,-32.87,23.575), (32.87,23.385,33.06,23.575), (-33.06,23.795,-32.87,23.985), (32.87,23.795,33.06,23.985), (-33.06,25.445,-32.87,25.635), (32.87,25.445,33.06,25.635), (-33.06,25.855,-32.87,26.045), (32.87,25.855,33.06,26.045), (-33.06,27.505,-32.87,27.695), (32.87,27.505,33.06,27.695), (-33.06,27.915,-32.87,28.105), (32.87,27.915,33.06,28.105), (-33.06,29.565,-32.87,29.755), (32.87,29.565,33.06,29.755), (-33.06,29.975,-32.87,30.165), (32.87,29.975,33.06,30.165), (-33.06,31.625,-32.87,31.815), (32.87,31.625,33.06,31.815), (-33.06,32.035,-32.87,32.225), (32.87,32.035,33.06,32.225), (-33.06,32.45,-32.87,32.64), (32.87,32.45,33.06,32.64), (-31.825,32.87,-31.635,33.06), (-31.415,32.87,-31.225,33.06), (-29.765,32.87,-29.575,33.06), (-29.355,32.87,-29.165,33.06), (-27.705,32.87,-27.515,33.06), (-27.295,32.87,-27.105,33.06), (-26.88,32.87,-26.69,33.06), (-26.47,32.87,-26.28,33.06), (-24.82,32.87,-24.63,33.06), (-24.41,32.87,-24.22,33.06), (-22.76,32.87,-22.57,33.06), (-22.35,32.87,-22.16,33.06), (-20.7,32.87,-20.51,33.06), (-20.29,32.87,-20.1,33.06), (-19.875,32.87,-19.685,33.06), (-19.465,32.87,-19.275,33.06), (-17.815,32.87,-17.625,33.06), (-17.405,32.87,-17.215,33.06), (-15.755,32.87,-15.565,33.06), (-15.345,32.87,-15.155,33.06), (-13.695,32.87,-13.505,33.06), (-13.285,32.87,-13.095,33.06), (-12.87,32.87,-12.68,33.06), (-12.46,32.87,-12.27,33.06), (-10.81,32.87,-10.62,33.06), (-10.4,32.87,-10.21,33.06), (-8.75,32.87,-8.56,33.06), (-8.34,32.87,-8.15,33.06), (-6.69,32.87,-6.5,33.06), (-6.28,32.87,-6.09,33.06), (-5.865,32.87,-5.675,33.06), (-5.455,32.87,-5.265,33.06), (-3.805,32.87,-3.615,33.06), (-3.395,32.87,-3.205,33.06), (-1.745,32.87,-1.555,33.06), (-1.335,32.87,-1.145,33.06), (-0.92,32.87,-0.73,33.06), (-0.51,32.87,-0.32,33.06), (1.14,32.87,1.33,33.06), (1.55,32.87,1.74,33.06), (3.2,32.87,3.39,33.06), (3.61,32.87,3.8,33.06), (5.26,32.87,5.45,33.06), (5.67,32.87,5.86,33.06), (6.085,32.87,6.275,33.06), (6.495,32.87,6.685,33.06), (8.145,32.87,8.335,33.06), (8.555,32.87,8.745,33.06), (10.205,32.87,10.395,33.06), (10.615,32.87,10.805,33.06), (12.265,32.87,12.455,33.06), (12.675,32.87,12.865,33.06), (13.09,32.87,13.28,33.06), (13.5,32.87,13.69,33.06), (15.15,32.87,15.34,33.06), (15.56,32.87,15.75,33.06), (17.21,32.87,17.4,33.06), (17.62,32.87,17.81,33.06), (19.27,32.87,19.46,33.06), (19.68,32.87,19.87,33.06), (20.095,32.87,20.285,33.06), (20.505,32.87,20.695,33.06), (22.155,32.87,22.345,33.06), (22.565,32.87,22.755,33.06), (24.215,32.87,24.405,33.06), (24.625,32.87,24.815,33.06), (26.275,32.87,26.465,33.06), (26.685,32.87,26.875,33.06), (27.1,32.87,27.29,33.06), (27.51,32.87,27.7,33.06), (29.16,32.87,29.35,33.06), (29.57,32.87,29.76,33.06), (31.22,32.87,31.41,33.06), (31.63,32.87,31.82,33.06), (32.045,32.87,32.235,33.06), (32.455,32.87,32.645,33.06), (32.87,32.87,33.06,33.06)])
P(bondpad, L67_0, [(-35,-35),(-35,35),(35,35),(35,-35),(-35,-35),(-30.93,-30.93),(30.93,-30.93),(30.93,30.93),(-30.93,30.93),(-30.93,-30.93)])
A(bondpad, L125_0, -33.175, -33.175, 0.42, 0.42, 20, 2, 0.845, 65.93)
A(bondpad, L125_0, -16.27, -33.175, 0.42, 0.42, 19, 2, 0.845, 65.93)
A(bondpad, L125_0, -0.21, -33.175, 0.42, 0.42, 20, 2, 0.845, 65.93)
A(bondpad, L125_0, 16.695, -33.175, 0.42, 0.42, 19, 2, 0.845, 65.93)
A(bondpad, L125_0, -33.175, -32.325, 0.42, 0.42, 1, 38, 0, 0.845)
A(bondpad, L125_0, 32.755, -32.325, 0.42, 0.42, 1, 38, 0, 0.845)
A(bondpad, L125_0, -33.175, -0.21, 0.42, 0.42, 1, 38, 0, 0.845)
A(bondpad, L125_0, 32.755, -0.21, 0.42, 0.42, 1, 38, 0, 0.845)
R(bondpad, L125_0, [(32.755,-33.175,33.175,-32.755), (-33.175,31.905,-32.755,32.325), (32.755,31.905,33.175,32.325), (32.755,32.755,33.175,33.175)])
P(bondpad, L126_0, [(-35,-35),(-35,35),(35,35),(35,-35),(-35,-35),(-30.93,-30.93),(30.93,-30.93),(30.93,30.93),(-30.93,30.93),(-30.93,-30.93)])
A(bondpad, L133_0, -23.43, -33.415, 0.9, 0.9, 3, 2, 2, 65.93)
A(bondpad, L133_0, -9.445, -33.415, 0.9, 0.9, 3, 2, 2, 65.93)
A(bondpad, L133_0, 4.54, -33.415, 0.9, 0.9, 3, 2, 2, 65.93)
A(bondpad, L133_0, 18.525, -33.415, 0.9, 0.9, 3, 2, 2, 65.93)
A(bondpad, L133_0, 28.515, -33.415, 0.9, 0.9, 3, 2, 2, 65.93)
A(bondpad, L133_0, -33.415, -29.45, 0.9, 0.9, 1, 15, 0, 2)
A(bondpad, L133_0, 32.515, -29.45, 0.9, 0.9, 1, 15, 0, 2)
A(bondpad, L133_0, -33.415, 0.545, 0.9, 0.9, 1, 16, 0, 2)
A(bondpad, L133_0, 32.515, 0.545, 0.9, 0.9, 1, 16, 0, 2)
R(bondpad, L133_0, [(-33.415,-33.415,-32.515,-32.515), (-31.42,-33.415,-30.52,-32.515), (-29.42,-33.415,-28.52,-32.515), (-27.425,-33.415,-26.525,-32.515), (-25.425,-33.415,-24.525,-32.515), (-17.435,-33.415,-16.535,-32.515), (-15.435,-33.415,-14.535,-32.515), (-13.44,-33.415,-12.54,-32.515), (-11.44,-33.415,-10.54,-32.515), (-3.45,-33.415,-2.55,-32.515), (-1.45,-33.415,-0.55,-32.515), (0.545,-33.415,1.445,-32.515), (2.545,-33.415,3.445,-32.515), (10.535,-33.415,11.435,-32.515), (12.535,-33.415,13.435,-32.515), (14.53,-33.415,15.43,-32.515), (16.53,-33.415,17.43,-32.515), (24.52,-33.415,25.42,-32.515), (26.52,-33.415,27.42,-32.515), (-33.415,-31.445,-32.515,-30.545), (32.515,-31.445,33.415,-30.545), (-33.415,32.515,-32.515,33.415), (-31.42,32.515,-30.52,33.415), (-29.42,32.515,-28.52,33.415), (-27.425,32.515,-26.525,33.415), (-25.425,32.515,-24.525,33.415), (-17.435,32.515,-16.535,33.415), (-15.435,32.515,-14.535,33.415), (-13.44,32.515,-12.54,33.415), (-11.44,32.515,-10.54,33.415), (-3.45,32.515,-2.55,33.415), (-1.45,32.515,-0.55,33.415), (0.545,32.515,1.445,33.415), (2.545,32.515,3.445,33.415), (10.535,32.515,11.435,33.415), (12.535,32.515,13.435,33.415), (14.53,32.515,15.43,33.415), (16.53,32.515,17.43,33.415), (24.52,32.515,25.42,33.415), (26.52,32.515,27.42,33.415)])
R(bondpad, L134_0, [(-35,-35,35,35)])

lib.write_gds('bondpad.gds')
